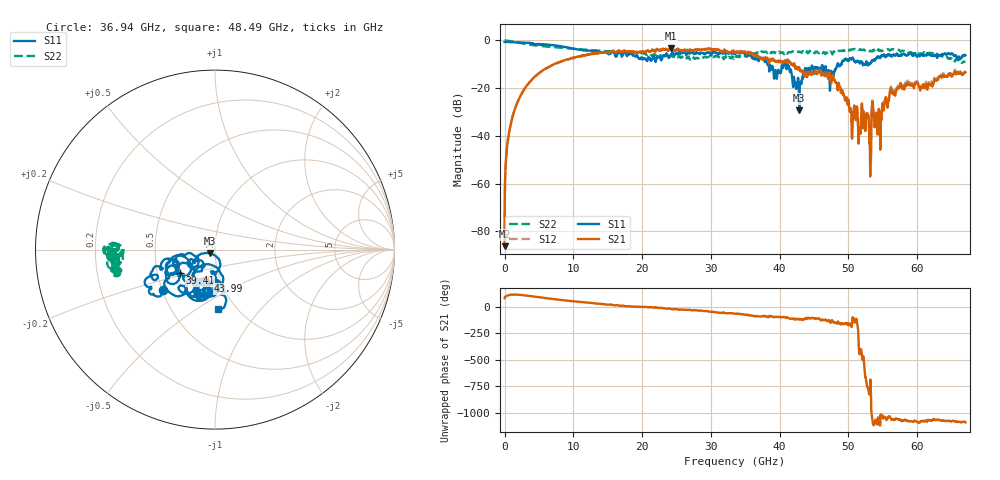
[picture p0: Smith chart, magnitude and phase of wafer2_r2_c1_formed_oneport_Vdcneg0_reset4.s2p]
!Keysight Technologies,N5227A,US51270248,A.10.65.08
!Date: Tuesday, June 11, 2024 08:26:07
!Correction: S11(Full 2 Port(1,4))
!S41(Full 2 Port(1,4))
!S14(Full 2 Port(1,4))
!S44(Full 2 Port(1,4))
!S2P File: Measurements: S11, S41, S14, S44:
# Hz S  dB  R 50
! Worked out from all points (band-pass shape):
!   3201 points, 10 MHz to 67 GHz, reference 50 ohm
!   highest |S21| = -3.35 dB at 24.19 GHz (marker M1); lowest = -86.2 dB at 10 MHz (marker M2)
!   |S21| within 3 dB of the highest: 11.36 GHz to 36.39 GHz (25.03 GHz wide, 105 % of centre); 36.43835 GHz to 36.5549 GHz (116.6 MHz wide, 0.319 % of centre)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
!   lowest |S11| = -29.3 dB at 42.84 GHz (marker M3), VSWR 1.07, Z = 47.2 - j1.76 ohm
!   |S11| at or under -10 dB: 38.36 GHz to 40.6 GHz (2.239 GHz wide, 5.67 % of centre); 41.16 GHz to 48.39 GHz (7.225 GHz wide, 16.1 % of centre); 48.54 GHz to 48.92 GHz (380.6 MHz wide, 0.781 % of centre)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
!   |S22| runs from -9.5 to 0.0 dB; largest |S21 - S12| = 0.053
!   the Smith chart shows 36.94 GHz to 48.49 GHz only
!   S11 on the Smith chart (normalised r, x): 36.94 GHz: 0.50, -0.26; 39.41 GHz: 0.65, -0.18; 43.99 GHz: 0.88, -0.32; 48.49 GHz: 0.83, -0.61
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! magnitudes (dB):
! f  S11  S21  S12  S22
! 10 MHz  -0.6  -86.2  -80.1  0.0
! 365.9 MHz  -0.7  -44.7  -44.4  -0.1
! 659 MHz  -0.7  -38.6  -38.7  -0.2
! 2.397 GHz  -0.8  -22.8  -22.8  -1.2
! 5.662 GHz  -1.7  -12.3  -12.5  -2.4
! 11.19 GHz  -4.0  -6.4  -6.7  -3.7
! 22.35 GHz  -6.9  -4.0  -3.9  -6.2
! 24.19 GHz  -5.9  -3.4  -3.4  -6.6
! 33.51 GHz  -5.6  -5.2  -5.1  -7.5
! 36.94 GHz  -8.7  -7.0  -7.1  -5.0
! 39.41 GHz  -12.5  -9.0  -8.9  -5.1
! 40.96 GHz  -11.1  -9.1  -9.0  -4.9
! 42.84 GHz  -29.3  -11.5  -11.3  -4.8
! 43.99 GHz  -15.0  -15.0  -14.5  -4.7
! 44.68 GHz  -10.7  -13.9  -13.6  -4.7
! 47.55 GHz  -13.1  -17.3  -16.7  -5.0
! 48.49 GHz  -9.7  -19.1  -19.2  -4.7
! 50.4 GHz  -7.9  -29.8  -29.8  -3.8
! 52.56 GHz  -9.0  -32.6  -32.2  -4.2
! 53.02 GHz  -9.7  -40.8  -40.6  -4.3
! 55.84 GHz  -5.9  -25.2  -24.6  -3.8
! 67 GHz  -6.2  -13.3  -12.7  -8.9
